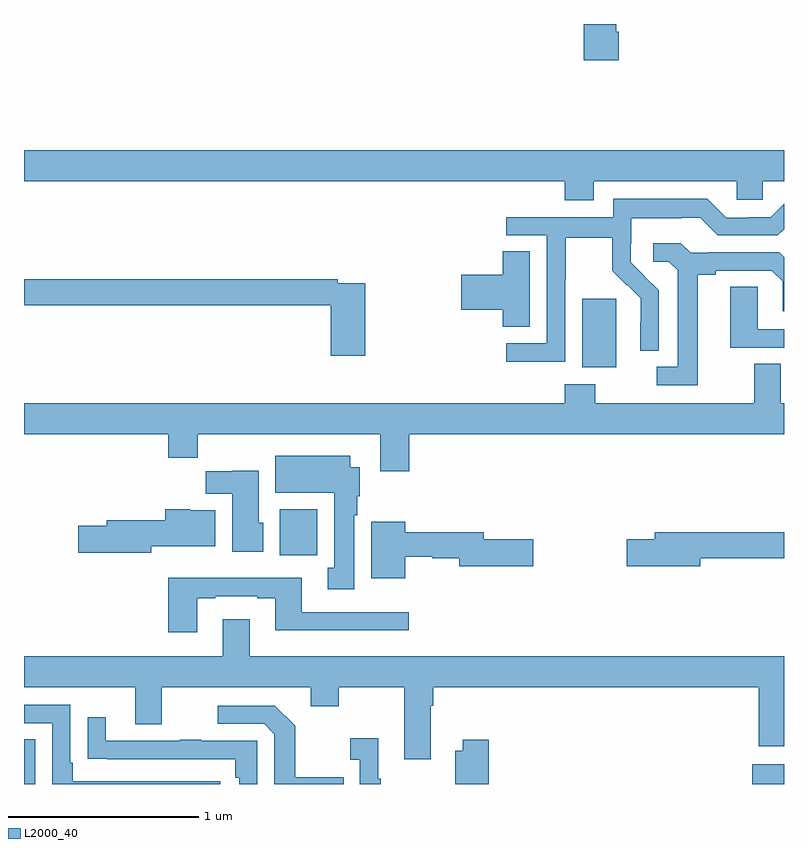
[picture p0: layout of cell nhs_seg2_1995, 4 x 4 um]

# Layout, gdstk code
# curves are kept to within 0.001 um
import gdstk
lib = gdstk.Library(unit=1e-6, precision=1e-09)
def R(c, l, rs):  # rectangles x0, y0, x1, y1
    for r in rs: c.add(gdstk.rectangle(r[:2], r[2:], *l))
def P(c, l, *ps):  # polygons
    for p in ps: c.add(gdstk.Polygon(p, *l))
L2000_40 = (2000, 40)

nhs_seg2_1995 = lib.new_cell('nhs_seg2_1995')
R(nhs_seg2_1995, L2000_40, [(215,641.8,215.058,642.035), (218.834,641.8,219,641.905), (216.347,643.004,216.544,643.246), (217.937,643.994,218.116,644.355)])
P(nhs_seg2_1995, L2000_40, [(218.129,645.759),(218.116,645.759),(218.116,645.8),(217.946,645.8),(217.946,645.609),(218.129,645.609)],
  [(217.999,644.972),(218.751,644.972),(218.751,644.874),(218.889,644.874),(218.889,644.972),(219,644.972),(219,645.136),(215,645.136),(215,644.972),(217.847,644.972),(217.847,644.873),(217.999,644.873)],
  [(217.848,644.452),(217.851,644.452),(217.851,644.676),(218.095,644.676),(218.095,644.501),(218.172,644.424),(218.175,644.427),(218.246,644.357),(218.246,644.234),(218.244,644.234),(218.244,644.08),(218.34,644.08),(218.34,644.398),(218.194,644.546),(218.194,644.643),(218.196,644.643),(218.196,644.777),(218.459,644.777),(218.459,644.781),(218.559,644.781),(218.652,644.688),(218.967,644.688),(219,644.721),(219,644.853),(218.931,644.784),(218.813,644.784),(218.813,644.781),(218.697,644.781),(218.597,644.881),(218.1,644.881),(218.1,644.784),(217.539,644.784),(217.539,644.688),(217.752,644.688),(217.752,644.121),(217.539,644.121),(217.539,644.023),(217.848,644.023)],
  [(218.545,644.48),(218.641,644.48),(218.641,644.502),(218.936,644.502),(218.993,644.445),(218.993,644.289),(219,644.289),(219,644.572),(218.974,644.598),(218.602,644.598),(218.602,644.595),(218.508,644.595),(218.456,644.647),(218.313,644.647),(218.313,644.55),(218.394,644.55),(218.441,644.503),(218.441,643.995),(218.331,643.995),(218.331,643.899),(218.545,643.899)],
  [(217.663,644.603),(217.52,644.603),(217.52,644.48),(217.302,644.48),(217.302,644.297),(217.52,644.297),(217.52,644.206),(217.663,644.206)],
  [(216.797,644.436),(216.65,644.436),(216.65,644.456),(215,644.456),(215,644.32),(216.614,644.32),(216.614,644.055),(216.797,644.055)],
  [(219,644.193),(218.862,644.193),(218.862,644.417),(218.717,644.417),(218.717,644.097),(219,644.097)],
  [(217.028,643.64),(219,643.64),(219,643.804),(218.983,643.804),(218.983,644.012),(218.843,644.012),(218.843,643.804),(218.007,643.804),(218.007,643.903),(217.847,643.903),(217.847,643.804),(215,643.804),(215,643.64),(215.759,643.64),(215.759,643.516),(215.915,643.516),(215.915,643.64),(216.875,643.64),(216.875,643.446),(217.028,643.446)],
  [(216.739,643.214),(216.754,643.214),(216.754,643.314),(216.766,643.314),(216.766,643.468),(216.718,643.468),(216.718,643.528),(216.323,643.528),(216.323,643.334),(216.632,643.334),(216.632,642.938),(216.599,642.938),(216.599,642.825),(216.739,642.825)],
  [(216.259,643.176),(216.235,643.176),(216.235,643.45),(216.099,643.45),(216.099,643.446),(215.956,643.446),(215.956,643.328),(216.095,643.328),(216.095,643.022),(216.259,643.022)],
  [(215.67,643.052),(216.007,643.052),(216.007,643.24),(215.874,643.24),(215.874,643.246),(215.744,643.246),(215.744,643.188),(215.435,643.188),(215.435,643.158),(215.286,643.158),(215.286,643.016),(215.67,643.016)],
  [(217.006,642.996),(217.149,642.996),(217.149,642.988),(217.292,642.988),(217.292,642.946),(217.681,642.946),(217.681,643.088),(217.42,643.088),(217.42,643.124),(217.006,643.124),(217.006,643.18),(216.827,643.18),(216.827,642.884),(217.006,642.884)],
  [(218.56,642.988),(219,642.988),(219,643.124),(218.321,643.124),(218.321,643.088),(218.172,643.088),(218.172,642.946),(218.56,642.946)],
  [(215.911,642.777),(216.007,642.777),(216.007,642.789),(216.227,642.789),(216.227,642.777),(216.323,642.777),(216.323,642.608),(217.024,642.608),(217.024,642.705),(216.463,642.705),(216.463,642.886),(215.759,642.886),(215.759,642.6),(215.911,642.6)],
  [(217.141,642.212),(217.154,642.212),(217.154,642.308),(218.867,642.308),(218.867,642),(219,642),(219,642.472),(216.187,642.472),(216.187,642.667),(216.047,642.667),(216.047,642.472),(215,642.472),(215,642.308),(215.585,642.308),(215.585,642.114),(215.725,642.114),(215.725,642.308),(216.509,642.308),(216.509,642.209),(216.657,642.209),(216.657,642.308),(217.001,642.308),(217.001,641.931),(217.141,641.931)],
  [(216.034,641.814),(215.257,641.814),(215.257,641.911),(215.244,641.911),(215.244,642.216),(215,642.216),(215,642.12),(215.148,642.12),(215.148,641.8),(216.034,641.8)],
  [(216.683,641.835),(216.427,641.835),(216.427,642.107),(216.321,642.213),(216.021,642.213),(216.021,642.117),(216.264,642.117),(216.318,642.063),(216.318,641.8),(216.683,641.8)],
  [(216.228,642.027),(215.933,642.027),(215.933,642.032),(215.821,642.032),(215.821,642.027),(215.431,642.027),(215.431,642.151),(215.335,642.151),(215.335,641.932),(215.437,641.932),(215.437,641.931),(216.112,641.931),(216.112,641.834),(216.132,641.834),(216.132,641.8),(216.228,641.8)],
  [(216.877,641.827),(216.865,641.827),(216.865,642.04),(216.717,642.04),(216.717,641.927),(216.768,641.927),(216.768,641.8),(216.877,641.8)],
  [(217.445,642.034),(217.31,642.034),(217.31,641.974),(217.27,641.974),(217.27,641.8),(217.445,641.8)])

lib.write_gds('nhs_seg2_1995.gds')
